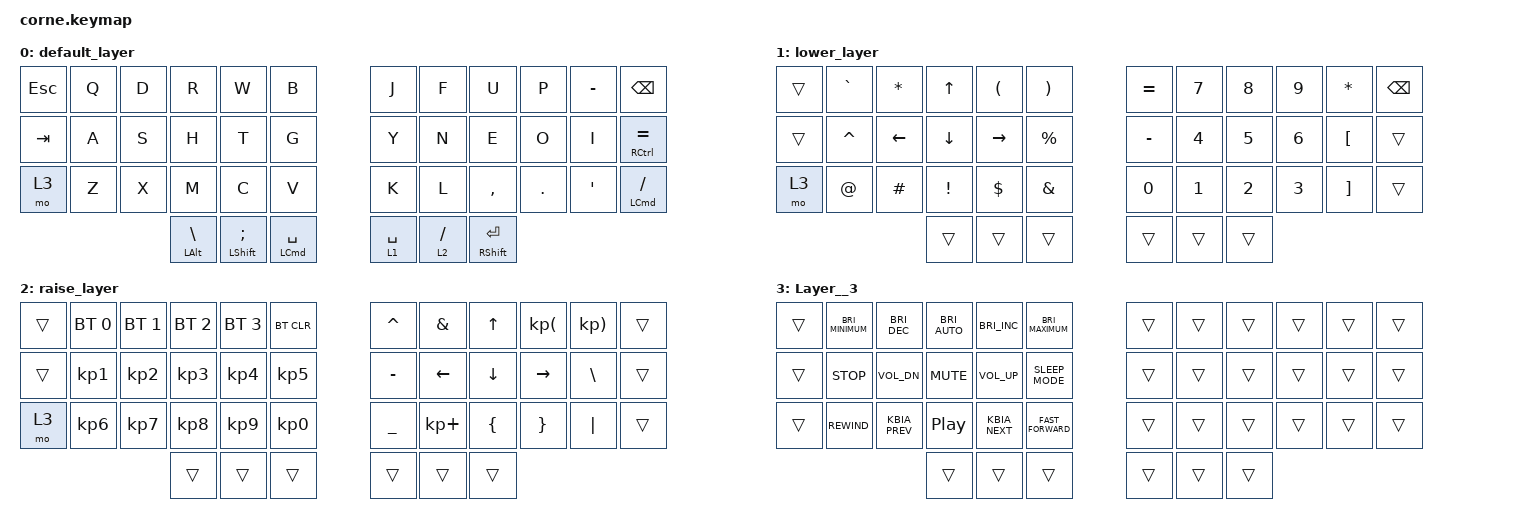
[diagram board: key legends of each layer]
/*
 * Copyright (c) 2020 The ZMK Contributors
 *
 * SPDX-License-Identifier: MIT
 */

#include <behaviors.dtsi>
#include <dt-bindings/zmk/keys.h>
#include <dt-bindings/zmk/bt.h>

/ {
    keymap {
        compatible = "zmk,keymap";

        default_layer {
            // -----------------------------------------------------------------------------------------
            // |  TAB |  Q  |  W  |  E  |  R  |  T  |   |  Y  |  U   |  I  |  O  |  P  | BKSP |
            // | CTRL |  A  |  S  |  D  |  F  |  G  |   |  H  |  J   |  K  |  L  |  ;  |  '   |
            // | SHFT |  Z  |  X  |  C  |  V  |  B  |   |  N  |  M   |  ,  |  .  |  /  | ESC  |
            //                    | GUI | LWR | SPC |   | ENT | RSE  | ALT |

            bindings = <
&kp ESC  &kp Q  &kp D                   &kp R                     &kp W                   &kp B        &kp J        &kp F                  &kp U    &kp P         &kp MINUS            &kp BACKSPACE
&kp TAB  &kp A  &kp S                   &kp H                     &kp T                   &kp G        &kp Y        &kp N                  &kp E    &kp O             &kp I  &mt RIGHT_CONTROL EQUAL
  &mo 3  &kp Z  &kp X                   &kp M                     &kp C                   &kp V        &kp K        &kp L              &kp COMMA  &kp DOT  &kp SINGLE_QUOTE   &mt LEFT_COMMAND SLASH
                       &mt LEFT_ALT BACKSLASH  &mt LEFT_SHIFT SEMICOLON  &mt LEFT_COMMAND SPACE  &lt 1 SPACE  &lt 2 SLASH  &mt RIGHT_SHIFT ENTER
            >;
        };

        lower_layer {
            // -----------------------------------------------------------------------------------------
            // |  TAB |  1  |  2  |  3  |  4  |  5  |   |  6  |  7  |  8  |  9  |  0  | BKSP |
            // | BTCLR| BT1 | BT2 | BT3 | BT4 | BT5 |   | LFT | DWN |  UP | RGT |     |      |
            // | SHFT |     |     |     |     |     |   |     |     |     |     |     |      |
            //                    | GUI |     | SPC |   | ENT |     | ALT |

            bindings = <
&trans  &kp GRAVE  &kp ASTERISK           &kp UP  &kp LEFT_PARENTHESIS  &kp RIGHT_PARENTHESIS     &kp EQUAL        &kp N7  &kp NUMBER_8        &kp N9       &kp ASTERISK  &kp BACKSPACE
&trans  &kp CARET      &kp LEFT         &kp DOWN             &kp RIGHT            &kp PERCENT     &kp MINUS  &kp NUMBER_4  &kp NUMBER_5  &kp NUMBER_6   &kp LEFT_BRACKET         &trans
 &mo 3     &kp AT      &kp HASH  &kp EXCLAMATION            &kp DOLLAR          &kp AMPERSAND  &kp NUMBER_0  &kp NUMBER_1  &kp NUMBER_2  &kp NUMBER_3  &kp RIGHT_BRACKET         &trans
                                          &trans                &trans                 &trans        &trans        &trans        &trans
            >;
        };

        raise_layer {
            // -----------------------------------------------------------------------------------------
            // |  TAB |  !  |  @  |  #  |  $  |  %  |   |  ^  |  &  |  *  |  (  |  )  | BKSP |
            // | CTRL |     |     |     |     |     |   |  -  |  =  |  [  |  ]  |  \  |  `   |
            // | SHFT |     |     |     |     |     |   |  _  |  +  |  {  |  }  | "|" |  ~   |
            //                    | GUI |     | SPC |   | ENT |     | ALT |

            bindings = <
&trans     &bt BT_SEL 0     &bt BT_SEL 1     &bt BT_SEL 2     &bt BT_SEL 3       &bt BT_CLR       &kp CARET  &kp AMPERSAND    &kp UP_ARROW      &kp KP_LPAR  &kp KP_RPAR  &trans
&trans  &kp KP_NUMBER_1  &kp KP_NUMBER_2  &kp KP_NUMBER_3  &kp KP_NUMBER_4  &kp KP_NUMBER_5       &kp MINUS       &kp LEFT  &kp DOWN_ARROW        &kp RIGHT     &kp BSLH  &trans
 &mo 3  &kp KP_NUMBER_6  &kp KP_NUMBER_7  &kp KP_NUMBER_8  &kp KP_NUMBER_9  &kp KP_NUMBER_0  &kp UNDERSCORE    &kp KP_PLUS  &kp LEFT_BRACE  &kp RIGHT_BRACE     &kp PIPE  &trans
                                                   &trans           &trans           &trans          &trans         &trans          &trans
            >;
        };

        Layer__3 {
            bindings = <
&trans  &kp C_BRIGHTNESS_MINIMUM  &kp C_BRIGHTNESS_DEC  &kp C_BRIGHTNESS_AUTO  &kp C_BRIGHTNESS_INC  &kp C_BRIGHTNESS_MAXIMUM  &trans  &trans  &trans  &trans  &trans  &trans
&trans                &kp C_STOP          &kp C_VOL_DN             &kp K_MUTE          &kp C_VOL_UP          &kp C_SLEEP_MODE  &trans  &trans  &trans  &trans  &trans  &trans
&trans              &kp C_REWIND       &kp C_KBIA_PREV               &kp C_PP       &kp C_KBIA_NEXT        &kp C_FAST_FORWARD  &trans  &trans  &trans  &trans  &trans  &trans
                                                                       &trans                &trans                    &trans  &trans  &trans  &trans
            >;
        };
    };
};
